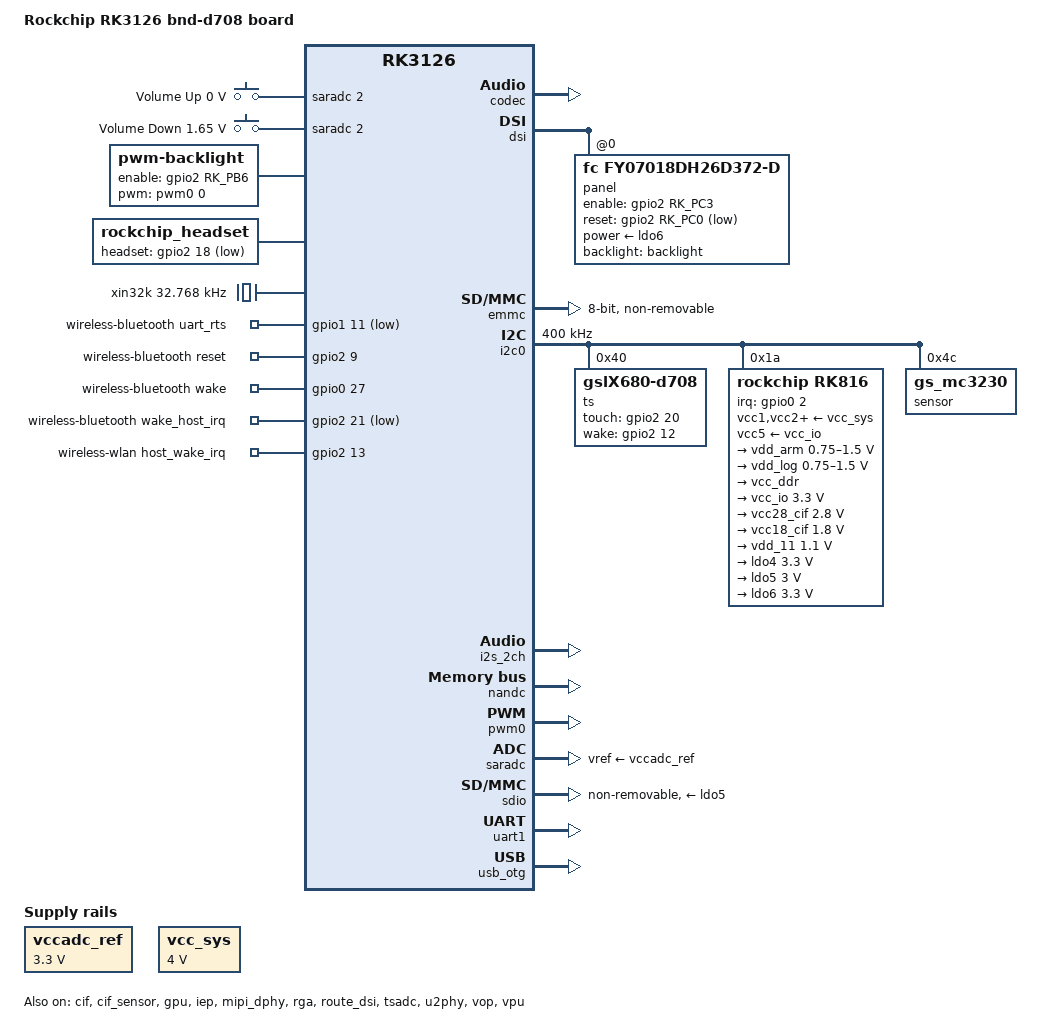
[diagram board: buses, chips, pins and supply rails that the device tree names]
/*
 * This file is dual-licensed: you can use it either under the terms
 * of the GPL or the X11 license, at your option. Note that this dual
 * licensing only applies to this file, and not this project as a
 * whole.
 *
 *  a) This file is free software; you can redistribute it and/or
 *     modify it under the terms of the GNU General Public License as
 *     published by the Free Software Foundation; either version 2 of the
 *     License, or (at your option) any later version.
 *
 *     This file is distributed in the hope that it will be useful,
 *     but WITHOUT ANY WARRANTY; without even the implied warranty of
 *     MERCHANTABILITY or FITNESS FOR A PARTICULAR PURPOSE.  See the
 *     GNU General Public License for more details.
 *
 *  Or, alternatively,
 *
 *  b) Permission is hereby granted, free of charge, to any person
 *     obtaining a copy of this software and associated documentation
 *     files (the "Software"), to deal in the Software without
 *     restriction, including without limitation the rights to use,
 *     copy, modify, merge, publish, distribute, sublicense, and/or
 *     sell copies of the Software, and to permit persons to whom the
 *     Software is furnished to do so, subject to the following
 *     conditions:
 *
 *     The above copyright notice and this permission notice shall be
 *     included in all copies or substantial portions of the Software.
 *
 *     THE SOFTWARE IS PROVIDED "AS IS", WITHOUT WARRANTY OF ANY KIND,
 *     EXPRESS OR IMPLIED, INCLUDING BUT NOT LIMITED TO THE WARRANTIES
 *     OF MERCHANTABILITY, FITNESS FOR A PARTICULAR PURPOSE AND
 *     NONINFRINGEMENT. IN NO EVENT SHALL THE AUTHORS OR COPYRIGHT
 *     HOLDERS BE LIABLE FOR ANY CLAIM, DAMAGES OR OTHER LIABILITY,
 *     WHETHER IN AN ACTION OF CONTRACT, TORT OR OTHERWISE, ARISING
 *     FROM, OUT OF OR IN CONNECTION WITH THE SOFTWARE OR THE USE OR
 *     OTHER DEALINGS IN THE SOFTWARE.
 */

/dts-v1/;
#include <dt-bindings/gpio/gpio.h>
#include <dt-bindings/input/input.h>
#include <dt-bindings/pinctrl/rockchip.h>
#include <dt-bindings/pwm/pwm.h>
#include <dt-bindings/sensor-dev.h>
#include "rk3126.dtsi"
#include "rk312x-android.dtsi"
#include "rk3126-m708-cif-sensor.dtsi"

/ {
	model = "Rockchip RK3126 bnd-d708 board";
	compatible = "rockchip,rk3126";

	adc-keys {
		compatible = "adc-keys";
		io-channels = <&saradc 2>;
		io-channel-names = "buttons";
		poll-interval = <100>;
		keyup-threshold-microvolt = <3300000>;

		button-up {
			label = "Volume Up";
			linux,code = <KEY_VOLUMEUP>;
			press-threshold-microvolt = <0>;
		};

		button-down {
			label = "Volume Down";
			linux,code = <KEY_VOLUMEDOWN>;
			press-threshold-microvolt = <1650000>;
		};
	};

	backlight: backlight {
		compatible = "pwm-backlight";
		pwms = <&pwm0 0 25000 0>;
		brightness-levels = <
				255 169 168 168 167 166 166 165
				164 164 163 162 162 161 160 160
				159 158 158 157 156 156 155 154
				154 153 152 152 151 150 150 149
				148 148 147 146 146 145 144 144
				143 142 142 141 140 140 139 138
				138 137 136 136 135 134 134 133
				132 132 131 130 130 129 128 128
				127 126 126 125 124 124 123 122
				122 121 120 120 119 118 118 117
				116 116 115 114 114 113 112 112
				111 110 110 109 108 108 107 106
				106 105 104 104 103 102 102 101
				100 100  99  98  98  97  96  96
				 95  94  94  93  92  92  91  90
				 90  89  88  88  87  86  86  85
				 84  84  83  82  82  81  80  80
				 79  78  78  77  76  76  75  74
				 74  73  72  72  71  70  70  69
				 68  68  67  66  66  65  64  64
				 63  62  62  61  60  60  59  58
				 58  57  56  56  55  54  54  53
				 52  52  51  50  50  49  48  48
				 47  46  46  45  44  44  43  42
				 42  41  40  40  39  38  38  37
				 36  36  35  34  34  33  32  32
				 31  30  30  29  28  28  27  26
				 26  25  24  24  23  22  22  21
				 20  20  19  18  18  17  16  16
				 15  14  14  13  12  12  11  10
				 10   9   8   8   7   6   6   5
				  4   4   3   2   1   1   1   0>;
		default-brightness-level = <128>;
		enable-gpios = <&gpio2 RK_PB6 GPIO_ACTIVE_HIGH>;
	};

	firmware {
		android {
			compatible = "android,firmware";
			fstab {
				compatible = "android,fstab";
				system {
					compatible = "android,system";
					dev = "/dev/block/by-name/system";
					type = "ext4";
					mnt_flags = "ro,barrier=1,inode_readahead_blks=8";
					fsmgr_flags = "wait";
				};
				vendor {
					compatible = "android,vendor";
					dev = "/dev/block/by-name/vendor";
					type = "ext4";
					mnt_flags = "ro,barrier=1,inode_readahead_blks=8";
					fsmgr_flags = "wait";
				};
			};
		};
	};

	rockchip_headset {
		compatible = "rockchip_headset";
		headset_gpio = <&gpio2 18 GPIO_ACTIVE_LOW>;
	};

	sound {
		compatible = "simple-audio-card";
		simple-audio-card,format = "i2s";
		simple-audio-card,mclk-fs = <256>;
		simple-audio-card,name = "rockchip,rk312x";
		simple-audio-card,cpu {
			sound-dai = <&i2s_2ch>;
		};
		simple-audio-card,codec {
			sound-dai = <&codec>;
		};
	};

	vccadc_ref: vccadc-ref {
		compatible = "regulator-fixed";
		regulator-name = "SARADC_AVDD33";
		regulator-always-on;
		regulator-boot-on;
		regulator-min-microvolt = <3300000>;
		regulator-max-microvolt = <3300000>;
	};

	vcc_sys: vcc-sys {
		compatible = "regulator-fixed";
		regulator-name = "vcc_sys";
		regulator-min-microvolt = <4000000>;
		regulator-max-microvolt = <4000000>;
		regulator-always-on;
	};

	xin32k: xin32k {
		compatible = "fixed-clock";
		clock-frequency = <32768>;
		clock-output-names = "xin32k";
		#clock-cells = <0>;
	};

	wireless-bluetooth {
		compatible = "bluetooth-platdata";
		/* wifi-bt-power-toggle; */

		keep_wifi_power_on = <1>;
		uart_rts_gpios = <&gpio1 11 GPIO_ACTIVE_LOW>; /* GPIO1_B3 */
		pinctrl-names = "default","rts_gpio";
		pinctrl-0 = <&uart1_rts>;
		pinctrl-1 = <&uart1_rts_gpio>;
		BT,reset_gpio = <&gpio2 9 GPIO_ACTIVE_HIGH>; /* GPIO2_B1 */
		BT,wake_gpio = <&gpio0 27 GPIO_ACTIVE_HIGH>; /* GPIO0_D3 */
		BT,wake_host_irq = <&gpio2 21 GPIO_ACTIVE_LOW>; /* GPIO2_C5 */
		status = "okay";
	};

	wireless-wlan {
		compatible = "wlan-platdata";

		wifi_chip_type = "rtl8723cs";
		WIFI,host_wake_irq = <&gpio2 13 GPIO_ACTIVE_HIGH>;
		status = "okay";
	};
};

&codec {
	#sound-dai-cells = <0>;
	hp-ctl-gpios = <&gpio2 17 GPIO_ACTIVE_HIGH>;
	spk-ctl-gpios = <&gpio2 10 GPIO_ACTIVE_HIGH>;
	spk-mute-delay = <200>;
	hp-mute-delay = <100>;
	is_rk3128 = <0>;
	spk_volume = <25>;
	hp_volume = <25>;
	capture_volume = <26>;
	gpio_debug = <1>;
	codec_hp_det = <0>;
	status = "okay";
};

&cif {
	status = "okay";
};

&cif_sensor {
	status = "okay";
};

&cpu0 {
	cpu-supply = <&vdd_arm>;
};

&dsi {
	status = "okay";

	panel@0 {
		compatible = "fc,fy07018dh26d372-d", "simple-panel-dsi";
		reg = <0>;
		backlight = <&backlight>;
		power-supply = <&ldo6>;
		power-invert;
		enable-gpios = <&gpio2 RK_PC3 GPIO_ACTIVE_HIGH>;
		reset-gpios = <&gpio2 RK_PC0 GPIO_ACTIVE_LOW>;
		prepare-delay-ms = <20>;
		reset-delay-ms = <20>;
		init-delay-ms = <20>;
		enable-delay-ms = <120>;
		disable-delay-ms = <20>;
		unprepare-delay-ms = <20>;

		width-mm = <153>;
		height-mm = <85>;

		dsi,flags = <(MIPI_DSI_MODE_VIDEO | MIPI_DSI_MODE_VIDEO_BURST |
			      MIPI_DSI_MODE_LPM | MIPI_DSI_MODE_EOT_PACKET)>;
		dsi,format = <MIPI_DSI_FMT_RGB888>;
		dsi,lanes = <4>;

		panel-init-sequence = [
			05 1e 01 01
			15 00 02 80 47
			15 00 02 81 40
			15 00 02 82 04
			15 00 02 83 77
			15 00 02 84 0f
			15 00 02 85 70
			15 78 02 86 70
		];

		display-timings {
			native-mode = <&timing0>;

			timing0: timing0 {
				clock-frequency = <49500000>;
				hactive = <1024>;
				hfront-porch = <120>;
				hsync-len = <40>;
				hback-porch = <120>;
				vactive = <600>;
				vfront-porch = <14>;
				vsync-len = <4>;
				vback-porch = <14>;
				hsync-active = <0>;
				vsync-active = <0>;
				de-active = <0>;
				pixelclk-active = <0>;
			};
		};
	};
};

&dmc {
	center-supply = <&vdd_log>;
};

&emmc {
	bus-width = <8>;
	cap-mmc-highspeed;
	supports-emmc;
	disable-wp;
	non-removable;
	num-slots = <1>;
	status = "okay";
};

&gpu {
	status = "okay";
	mali-supply = <&vdd_log>;
};

&i2c0 {
	status = "okay";
	clock-frequency = <400000>;

	ts@40 {
		compatible = "gslX680-d708";
		reg = <0x40>;
		touch-gpio = <&gpio2 20 IRQ_TYPE_LEVEL_LOW>;
		wake-gpio = <&gpio2 12 IRQ_TYPE_LEVEL_LOW>;
		screen_max_x = <800>;
		screen_max_y = <480>;
		status = "okay";
	};

	rk816: pmic@1a {
		compatible = "rockchip,rk816";
		reg = <0x1a>;
		interrupt-parent = <&gpio0>;
		interrupts = <2 IRQ_TYPE_LEVEL_LOW>;
		pinctrl-names = "default";
		pinctrl-0 = <&pmic_int_l>;
		rockchip,system-power-controller;
		wakeup-source;
		gpio-controller;
		#gpio-cells = <2>;
		#clock-cells = <1>;
		clock-output-names = "rk816-clkout1", "rk816-clkout2";
		extcon = <&u2phy>;

		vcc1-supply = <&vcc_sys>;
		vcc2-supply = <&vcc_sys>;
		vcc3-supply = <&vcc_sys>;
		vcc4-supply = <&vcc_sys>;
		vcc5-supply = <&vcc_io>;
		vcc6-supply = <&vcc_sys>;

		gpio {
			status = "okay";
		};

		pwrkey {
			status = "okay";
		};

		rtc {
			status = "okay";
		};

		battery {
			compatible = "rk816-battery";
			ocv_table = < 3500 3625 3685 3697 3718 3735 3748
					3760 3774 3788 3802 3816 3834 3853
					3877 3908 3946 3975 4018 4071 4106>;
			design_capacity = <2500>;
			design_qmax = <2750>;
			bat_res = <100>;
			max_input_current = <1500>;
			max_chrg_current = <1300>;
			max_chrg_voltage = <4200>;
			sleep_enter_current = <300>;
			sleep_exit_current = <300>;
			sleep_filter_current = <100>;
			power_off_thresd = <3500>;
			zero_algorithm_vol = <3850>;
			max_soc_offset = <60>;
			monitor_sec = <5>;
			virtual_power = <0>;
			power_dc2otg = <0>;
			dc_det_adc = <0>;
		};

		regulators {

			vdd_arm: DCDC_REG1{
				regulator-name= "vdd_arm";
				regulator-min-microvolt = <750000>;
				regulator-max-microvolt = <1500000>;
				regulator-ramp-delay = <6001>;
				regulator-initial-mode = <1>;
				regulator-always-on;
				regulator-boot-on;
				regulator-state-mem {
					regulator-off-in-suspend;
					regulator-suspend-microvolt = <900000>;
				};
			};

			vdd_log: DCDC_REG2 {
				regulator-name= "vdd_logic";
				regulator-min-microvolt = <750000>;
				regulator-max-microvolt = <1500000>;
				regulator-ramp-delay = <6001>;
				regulator-initial-mode = <1>;
				regulator-always-on;
				regulator-boot-on;
				regulator-state-mem {
					regulator-on-in-suspend;
					regulator-suspend-microvolt = <1000000>;
				};
			};

			vcc_ddr: DCDC_REG3 {
				regulator-name = "vcc_ddr";
				regulator-always-on;
				regulator-boot-on;
				regulator-initial-mode = <1>;
			};

			vcc_io: DCDC_REG4 {
				regulator-name = "vcc_io";
				regulator-min-microvolt = <3300000>;
				regulator-max-microvolt = <3300000>;
				regulator-initial-mode = <1>;
				regulator-always-on;
				regulator-boot-on;
				regulator-state-mem {
					regulator-on-in-suspend;
					regulator-suspend-microvolt = <3000000>;
				};
			};

			vcc28_cif: LDO_REG1 {
				regulator-name = "vcc28_cif";
				regulator-min-microvolt = <2800000>;
				regulator-max-microvolt = <2800000>;
				regulator-always-on;
				regulator-boot-on;
				regulator-state-mem {
					regulator-off-in-suspend;
				};
			};

			vcc18_cif: LDO_REG2 {
				regulator-name = "vcc18_cif";
				regulator-min-microvolt = <1800000>;
				regulator-max-microvolt = <1800000>;
				regulator-always-on;
				regulator-boot-on;
				regulator-state-mem {
					regulator-off-in-suspend;
				};
			};

			vdd_11: LDO_REG3 {
				regulator-name = "vdd_11";
				regulator-min-microvolt = <1100000>;
				regulator-max-microvolt = <1100000>;
				regulator-always-on;
				regulator-boot-on;
				regulator-state-mem {
					regulator-on-in-suspend;
					regulator-suspend-microvolt = <1100000>;
				};
			};

			ldo4: LDO_REG4 {
				regulator-name= "ldo4";
				regulator-min-microvolt = <3300000>;
				regulator-max-microvolt = <3300000>;
				regulator-always-on;
				regulator-boot-on;
				regulator-state-mem {
					regulator-off-in-suspend;
				};
			};

			ldo5: LDO_REG5 {
				regulator-name= "ldo5";
				regulator-min-microvolt = <3000000>;
				regulator-max-microvolt = <3000000>;
				regulator-always-on;
				regulator-boot-on;
				regulator-state-mem {
					regulator-on-in-suspend;
				};
			};

			ldo6: LDO_REG6 {
				regulator-name= "ldo6";
				regulator-min-microvolt = <3300000>;
				regulator-max-microvolt = <3300000>;
				regulator-state-mem {
					regulator-on-in-suspend;
					regulator-suspend-microvolt = <3300000>;
				};
			};
		};
	};

	sensor@4c {
		compatible = "gs_mc3230";
		reg = <0x4c>;
		type = <SENSOR_TYPE_ACCEL>;
		irq_enable = <0>;
		poll_delay_ms = <30>;
		layout = <3>;
		reprobe_en = <1>;
	};
};

&i2s_2ch {
	#sound-dai-cells = <0>;
	status = "okay";
};

&iep {
	status = "okay";
};

&iep_mmu {
	status = "okay";
};

&mipi_dphy {
	status = "okay";
};

&nandc {
	status = "okay";
};

&pinctrl {
	lcdc {
		lcdc_lcdc: lcdc-lcdc {
			rockchip,pins =
				/* depend on the hardware */
				<2 RK_PB0 1 &pcfg_pull_none>, /* DCLK */
				/* <2 RK_PB1 1 &pcfg_pull_none>, /* HSYNC */
				/* <2 RK_PB2 1 &pcfg_pull_none>, /* VSYNC */
				<2 RK_PB3 1 &pcfg_pull_none>, /* DEN */
				<2 RK_PB4 1 &pcfg_pull_none>, /* DATA10 */
				<2 RK_PB5 1 &pcfg_pull_none>, /* DATA11 */
				<2 RK_PB6 1 &pcfg_pull_none>, /* DATA12 */
				<2 RK_PB7 1 &pcfg_pull_none>, /* DATA13 */
				<2 RK_PC0 1 &pcfg_pull_none>, /* DATA14 */
				<2 RK_PC1 1 &pcfg_pull_none>, /* DATA15 */
				<2 RK_PC2 1 &pcfg_pull_none>, /* DATA16 */
				<2 RK_PC3 1 &pcfg_pull_none>; /* DATA17 */
				/* <2 RK_PC4 1 &pcfg_pull_none>, /* DATA18 */
				/* <2 RK_PC5 1 &pcfg_pull_none>, /* DATA19 */
				/* <2 RK_PC6 1 &pcfg_pull_none>, /* DATA20 */
				/* <2 RK_PC7 1 &pcfg_pull_none>, /* DATA21 */
				/* <2 RK_PD0 1 &pcfg_pull_none>, /* DATA22 */
				/* <2 RK_PD1 1 &pcfg_pull_none>; /* DATA23 */
		};
	};

	pmic {
		pmic_int_l: pmic-int-l {
			rockchip,pins =
				<0 2 RK_FUNC_GPIO &pcfg_pull_default>;
		};
	};

	wireless-bluetooth {
		uart1_rts_gpio: uart1-rts-gpio {
			rockchip,pins = <1 11 RK_FUNC_GPIO &pcfg_pull_none>;
		};
	};
};

&pwm0 {
	status = "okay";
};

&rga {
	status = "okay";
};

&route_dsi {
	status = "okay";
};

&saradc {
	status = "okay";
	vref-supply = <&vccadc_ref>;
};

&sdmmc {
	cap-mmc-highspeed;
	supports-sd;
	card-detect-delay = <800>;
	ignore-pm-notify;
	keep-power-in-suspend;
	cd-gpios = <&gpio2 7 GPIO_ACTIVE_LOW>; /* CD GPIO */
	status = "disabled";
};

&sdio {
	max-frequency = <50000000>;
	cap-sd-highspeed;
	supports-sdio;
	ignore-pm-notify;
	keep-power-in-suspend;
	non-removable;
	vmmc-supply = <&ldo5>;
	status = "okay";
};

&tsadc {
	status = "okay";
};

&u2phy {
	status = "okay";

	u2phy_otg: otg-port {
		status = "okay";
	};

	u2phy_host: host-port {
		status = "okay";
	};
};

&uart1 {
	pinctrl-names = "default";
	pinctrl-0 = <&uart1_xfer &uart1_cts>;
	status = "okay";
};

&usb_otg {
	status = "okay";
};

&vop {
	status = "okay";
};

&vop_mmu {
	status = "okay";
};

&vpu {
	status = "okay";
};
